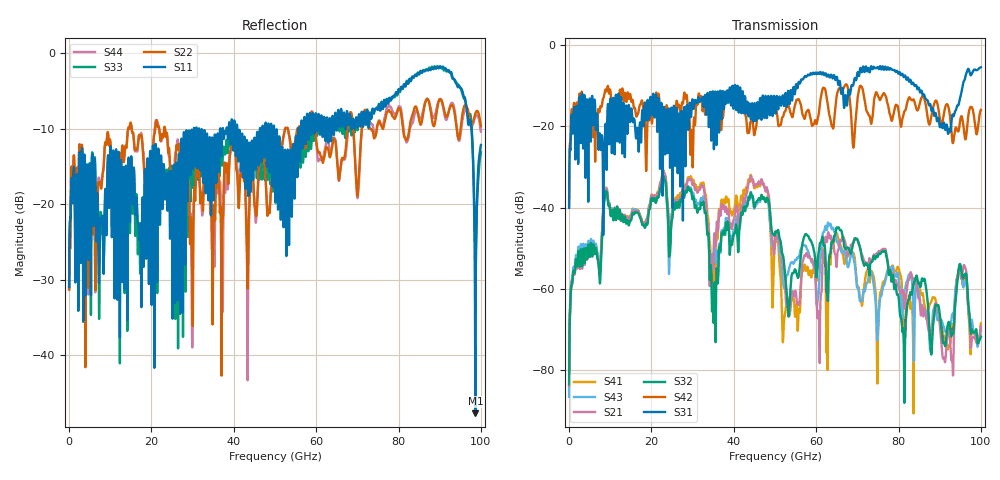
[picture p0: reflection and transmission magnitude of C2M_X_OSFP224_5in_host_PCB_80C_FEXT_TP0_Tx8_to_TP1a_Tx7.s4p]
# GHz S RI R 45
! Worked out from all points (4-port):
!   4000 points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, 25 MHz to 100 GHz, reference 45 ohm
!   strongest paths, dB at 25 MHz, 25.02 GHz, 50.02 GHz, 75.03 GHz, 100 GHz:
!     S31: -40.1, -18.9, -15.8, -5.5, -5.4
!     S42: -39.3, -21.6, -13.7, -12.5, -15.9
!     S32: -83.6, -43.0, -46.6, -51.8, -71.8
!     S21: -84.0, -42.6, -47.9, -51.1, -69.3
!     S43: -86.7, -41.4, -48.7, -69.8, -70.6
!     S41: -84.5, -40.9, -46.5, -71.5, -68.5
!   lowest |S11| = -47.7 dB at 98.65 GHz (marker M1), VSWR 1.01, Z = 45.3 + j0.138 ohm
!   |S11| at or under -10 dB: start of sweep to 30.32 GHz; 40.87 GHz to 46.34 GHz (5.466 GHz wide, 12.5 % of centre); 49.81 GHz to 55.73 GHz (5.924 GHz wide, 11.2 % of centre) (the widest 3 of 34)
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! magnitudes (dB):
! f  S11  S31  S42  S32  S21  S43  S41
! 25 MHz  -31.0  -40.1  -39.3  -83.6  -84.0  -86.7  -84.5
! 23 GHz  -14.7  -15.2  -16.0  -32.4  -31.1  -32.5  -31.0
! 35.17 GHz  -16.4  -25.6  -17.1  -62.4  -48.7  -50.5  -52.6
! 44.17 GHz  -15.9  -18.2  -18.7  -36.3  -32.3  -36.3  -32.0
! 52.15 GHz  -21.6  -14.6  -16.9  -53.1  -55.5  -59.7  -68.6
! 98.65 GHz  -47.7  -6.0  -20.2  -70.7  -72.5  -71.5  -72.1
! 100 GHz  -12.2  -5.4  -15.9  -71.8  -69.3  -70.6  -68.5
